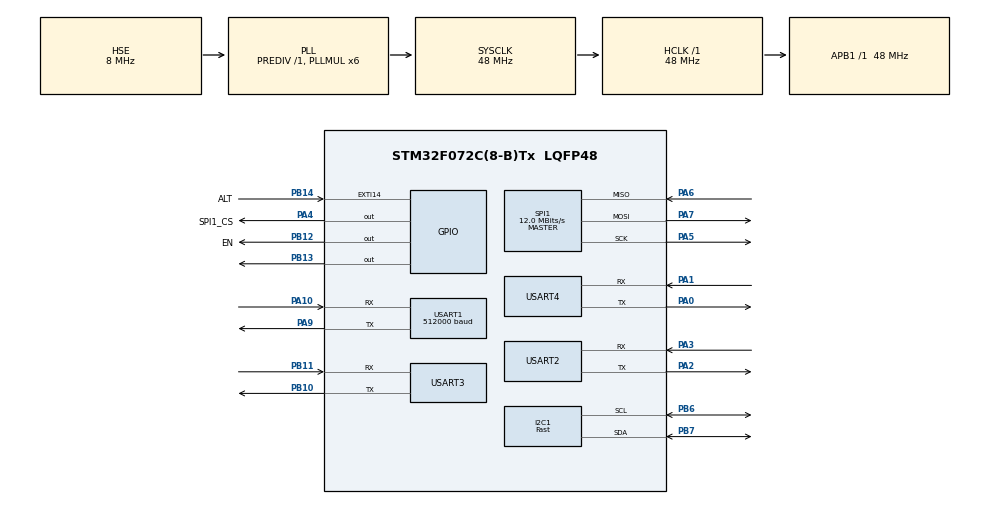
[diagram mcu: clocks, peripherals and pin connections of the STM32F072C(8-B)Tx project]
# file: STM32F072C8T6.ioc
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Dma.Request0=USART4_TX
Dma.USART4_TX.0.Direction=DMA_MEMORY_TO_PERIPH
Dma.USART4_TX.0.Instance=DMA1_Channel7
Dma.USART4_TX.0.MemDataAlignment=DMA_MDATAALIGN_BYTE
Dma.USART4_TX.0.MemInc=DMA_MINC_ENABLE
Dma.USART4_TX.0.Mode=DMA_NORMAL
Dma.USART4_TX.0.PeriphDataAlignment=DMA_PDATAALIGN_BYTE
Dma.USART4_TX.0.PeriphInc=DMA_PINC_DISABLE
Dma.USART4_TX.0.Priority=DMA_PRIORITY_LOW
FREERTOS.Tasks01=defaultTask,24,128,StartDefaultTask,Default,NULL,Dynamic,NULL,NULL;MP4201_R_task,8,128,MP4201_R,Default,NULL,Dynamic,NULL,NULL;MP4201_W_task,8,128,MP4201_W,Default,NULL,Dynamic,NULL,NULL;Screen_task,8,128,Screen,Default,NULL,Dynamic,NULL,NULL
I2C1.I2C_Fall_Time=80
I2C1.I2C_Rise_Time=80
I2C1.I2C_Speed_Mode=I2C_Fast
I2C1.Timing=0x0010020A
Mcu.Family=STM32F0
Mcu.Name=STM32F072C(8-B)Tx
Mcu.Package=LQFP48
NVIC.EXTI4_15_IRQn=true\:3\:0\:true\:false\:true\:true\:true\:true\:true
NVIC.TIM1_BRK_UP_TRG_COM_IRQn=true\:3\:0\:false\:false\:true\:false\:false\:true\:true
NVIC.TimeBase=TIM1_BRK_UP_TRG_COM_IRQn
NVIC.TimeBaseIP=TIM1
NVIC.USART1_IRQn=true\:3\:0\:false\:false\:true\:true\:true\:true\:true
NVIC.USART2_IRQn=true\:3\:0\:false\:false\:true\:true\:true\:true\:true
PA0.Mode=Asynchronous
PA0.Signal=USART4_TX
PA1.Mode=Asynchronous
PA1.Signal=USART4_RX
PA10.Mode=Asynchronous
PA10.Signal=USART1_RX
PA13.Mode=Serial_Wire
PA13.Signal=SYS_SWDIO
PA14.Mode=Serial_Wire
PA14.Signal=SYS_SWCLK
PA2.Mode=Asynchronous
PA2.Signal=USART2_TX
PA3.Mode=Asynchronous
PA3.Signal=USART2_RX
PA4.GPIO_Label=SPI1_CS
PA4.Signal=GPIO_Output
PA5.Mode=Full_Duplex_Master
PA5.Signal=SPI1_SCK
PA6.Mode=Full_Duplex_Master
PA6.Signal=SPI1_MISO
PA7.Mode=Full_Duplex_Master
PA7.Signal=SPI1_MOSI
PA9.Mode=Asynchronous
PA9.Signal=USART1_TX
PB10.Mode=Asynchronous
PB10.Signal=USART3_TX
PB11.Mode=Asynchronous
PB11.Signal=USART3_RX
PB12.GPIO_Label=EN
PB12.GPIO_ModeDefaultOutputPP=GPIO_MODE_OUTPUT_OD
PB12.GPIO_PuPd=GPIO_NOPULL
PB12.PinState=GPIO_PIN_SET
PB12.Signal=GPIO_Output
PB13.Signal=GPIO_Output
PB14.GPIO_Label=ALT
PB14.GPIO_ModeDefaultEXTI=GPIO_MODE_IT_RISING_FALLING
PB14.GPIO_PuPd=GPIO_PULLUP
PB14.Signal=GPXTI14
PB6.Mode=I2C
PB6.Signal=I2C1_SCL
PB7.Mode=I2C
PB7.Signal=I2C1_SDA
PF0-OSC_IN.Mode=HSE-External-Oscillator
PF0-OSC_IN.Signal=RCC_OSC_IN
PF1-OSC_OUT.Mode=HSE-External-Oscillator
PF1-OSC_OUT.Signal=RCC_OSC_OUT
ProjectManager.HeapSize=0x200
ProjectManager.StackSize=0x400
ProjectManager.TargetToolchain=MDK-ARM V5.27
RCC.AHBFreq_Value=48000000
RCC.APB1Freq_Value=48000000
RCC.APB1TimFreq_Value=48000000
RCC.HCLKFreq_Value=48000000
RCC.PLLMUL=RCC_PLL_MUL6
RCC.PLLSourceVirtual=RCC_PLLSOURCE_HSE
RCC.SYSCLKFreq_VALUE=48000000
RCC.SYSCLKSource=RCC_SYSCLKSOURCE_PLLCLK
SPI1.BaudRatePrescaler=SPI_BAUDRATEPRESCALER_4
SPI1.CalculateBaudRate=12.0 MBits/s
SPI1.DataSize=SPI_DATASIZE_8BIT
SPI1.Direction=SPI_DIRECTION_2LINES
SPI1.Mode=SPI_MODE_MASTER
SPI1.VirtualType=VM_MASTER
USART1.BaudRate=512000
USART1.VirtualMode-Asynchronous=VM_ASYNC
USART2.VirtualMode-Asynchronous=VM_ASYNC
USART3.VirtualMode-Asynchronous=VM_ASYNC
USART4.VirtualMode-Asynchronous=VM_ASYNC
VP_FREERTOS_VS_CMSIS_V2.Mode=CMSIS_V2
VP_SYS_VS_tim1.Mode=TIM1
board=custom

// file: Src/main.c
/* USER CODE BEGIN Header */
/**
  ******************************************************************************
  * @file           : main.c
  * @brief          : Main program body
  ******************************************************************************
  * @attention
  *
  * Copyright (c) 2025 STMicroelectronics.
  * All rights reserved.
  *
  * This software is licensed under terms that can be found in the LICENSE file
  * in the root directory of this software component.
  * If no LICENSE file comes with this software, it is provided AS-IS.
  *
  ******************************************************************************
  */
/* USER CODE END Header */
#include "main.h"
#include "cmsis_os.h"
#include "dma.h"
#include "i2c.h"
#include "spi.h"
#include "usart.h"
#include "gpio.h"

/* USER CODE BEGIN Includes */
#include <stdio.h>
#include "w25qxx.h"
#include "MP4201.h"
#include "mcp4725.h"
#include "Kalman_Filter.h"
/* USER CODE END Includes */

/* USER CODE BEGIN PTD */
extern hMP4201_t MP4201;
/* USER CODE END PTD */

/* USER CODE BEGIN PV */
bool fault_flag = 0;
uint8_t writebuffer[8] = {1,2,3,4,5,6,7,8};
uint8_t readbuffer[8] = {0};
float vout_target=12.0f;
int text_tag=0;
uint16_t count=0;
float total[8]={0};
//float Vin_total;1
//float Iin_total;2
//float Pin_total;3
//float Vout_total;4
//float Iout_total;5
//float Pout_total;6
//float temperature_total;7
//float Eff_total;8
/* USER CODE END PV */

void SystemClock_Config(void);
void MX_FREERTOS_Init(void);

int main(void)
{

  /* MCU Configuration--------------------------------------------------------*/

  /* Reset of all peripherals, Initializes the Flash interface and the Systick. */
  HAL_Init();

  /* Configure the system clock */
  SystemClock_Config();

  /* Initialize all configured peripherals */
  MX_GPIO_Init();
  MX_DMA_Init();
  MX_SPI1_Init();
  MX_USART1_UART_Init();
  MX_I2C1_Init();
  MX_USART2_UART_Init();
  MX_USART3_UART_Init();
  MX_USART4_UART_Init();
  /* USER CODE BEGIN 2 */
	W25QXX_Init();
  MCP4725_All_Init();
	MP4201_SET_MODE(PFM_WO_FSS);
	MP4201_SET_FREQ(FREQ_200KHz);

	MP4201_Init(&MP4201);

	mp4201_vout_set(&MP4201, vout_target);
	HAL_UART_Receive_IT(&huart1,&recv_data, 1);

	Kalman3D_Current_Init(&kf_current_in,0.0f, 0.0f, 0.0f, 0.01f);
	Kalman3D_Current_Init(&kf_current_out,0.0f, 0.0f, 0.0f, 0.01f);
//	mp4201_operation_set(&MP4201,false);
  /* USER CODE END 2 */

  /* Init scheduler */
  osKernelInitialize();  /* Call init function for freertos objects (in cmsis_os2.c) */
  MX_FREERTOS_Init();

  /* Start scheduler */
  osKernelStart();

  /* We should never get here as control is now taken by the scheduler */

  /* Infinite loop */
  while (1)
  {

  }
}

void SystemClock_Config(void)
{
  RCC_OscInitTypeDef RCC_OscInitStruct = {0};
  RCC_ClkInitTypeDef RCC_ClkInitStruct = {0};
  RCC_PeriphCLKInitTypeDef PeriphClkInit = {0};

  /** Initializes the RCC Oscillators according to the specified parameters
  * in the RCC_OscInitTypeDef structure.
  */
  RCC_OscInitStruct.OscillatorType = RCC_OSCILLATORTYPE_HSI|RCC_OSCILLATORTYPE_HSE;
  RCC_OscInitStruct.HSEState = RCC_HSE_ON;
  RCC_OscInitStruct.HSIState = RCC_HSI_ON;
  RCC_OscInitStruct.HSICalibrationValue = RCC_HSICALIBRATION_DEFAULT;
  RCC_OscInitStruct.PLL.PLLState = RCC_PLL_ON;
  RCC_OscInitStruct.PLL.PLLSource = RCC_PLLSOURCE_HSE;
  RCC_OscInitStruct.PLL.PLLMUL = RCC_PLL_MUL6;
  RCC_OscInitStruct.PLL.PREDIV = RCC_PREDIV_DIV1;
  if (HAL_RCC_OscConfig(&RCC_OscInitStruct) != HAL_OK)
  {
    Error_Handler();
  }

  /** Initializes the CPU, AHB and APB buses clocks
  */
  RCC_ClkInitStruct.ClockType = RCC_CLOCKTYPE_HCLK|RCC_CLOCKTYPE_SYSCLK
                              |RCC_CLOCKTYPE_PCLK1;
  RCC_ClkInitStruct.SYSCLKSource = RCC_SYSCLKSOURCE_PLLCLK;
  RCC_ClkInitStruct.AHBCLKDivider = RCC_SYSCLK_DIV1;
  RCC_ClkInitStruct.APB1CLKDivider = RCC_HCLK_DIV1;

  if (HAL_RCC_ClockConfig(&RCC_ClkInitStruct, FLASH_LATENCY_1) != HAL_OK)
  {
    Error_Handler();
  }
  PeriphClkInit.PeriphClockSelection = RCC_PERIPHCLK_USART1|RCC_PERIPHCLK_USART2
                              |RCC_PERIPHCLK_I2C1;
  PeriphClkInit.Usart1ClockSelection = RCC_USART1CLKSOURCE_PCLK1;
  PeriphClkInit.Usart2ClockSelection = RCC_USART2CLKSOURCE_PCLK1;
  PeriphClkInit.I2c1ClockSelection = RCC_I2C1CLKSOURCE_HSI;
  if (HAL_RCCEx_PeriphCLKConfig(&PeriphClkInit) != HAL_OK)
  {
    Error_Handler();
  }
}

void HAL_TIM_PeriodElapsedCallback(TIM_HandleTypeDef *htim)
{
  if (htim->Instance == TIM1)
  {
    HAL_IncTick();
  }
}

void Error_Handler(void)
{
  __disable_irq();
  while (1)
  {
  }
}

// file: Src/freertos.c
/* USER CODE BEGIN Header */
/**
  ******************************************************************************
  * File Name          : freertos.c
  * Description        : Code for freertos applications
  ******************************************************************************
  * @attention
  *
  * Copyright (c) 2025 STMicroelectronics.
  * All rights reserved.
  *
  * This software is licensed under terms that can be found in the LICENSE file
  * in the root directory of this software component.
  * If no LICENSE file comes with this software, it is provided AS-IS.
  *
  ******************************************************************************
  */
/* USER CODE END Header */

#include "FreeRTOS.h"
#include "task.h"
#include "main.h"
#include "cmsis_os.h"

/* USER CODE BEGIN Includes */
#include "w25qxx.h"
#include "MP4201.h"
#include "mcp4725.h"
#include "screen.h"
#include "Kalman_Filter.h"
/* USER CODE END Includes */

/* USER CODE BEGIN PTD */
extern float vout_target;
extern int text_tag;
float R_Iin;
float R_Iout;
float R_Vin;
float R_Vout;
/* USER CODE END PTD */

/* Definitions for defaultTask */
osThreadId_t defaultTaskHandle;
const osThreadAttr_t defaultTask_attributes = {
  .name = "defaultTask",
  .stack_size = 128 * 4,
  .priority = (osPriority_t) osPriorityNormal,
};
/* Definitions for MP4201_R_task */
osThreadId_t MP4201_R_taskHandle;
const osThreadAttr_t MP4201_R_task_attributes = {
  .name = "MP4201_R_task",
  .stack_size = 128 * 4,
  .priority = (osPriority_t) osPriorityLow,
};
/* Definitions for MP4201_W_task */
osThreadId_t MP4201_W_taskHandle;
const osThreadAttr_t MP4201_W_task_attributes = {
  .name = "MP4201_W_task",
  .stack_size = 128 * 4,
  .priority = (osPriority_t) osPriorityLow,
};
/* Definitions for Screen_task */
osThreadId_t Screen_taskHandle;
const osThreadAttr_t Screen_task_attributes = {
  .name = "Screen_task",
  .stack_size = 128 * 4,
  .priority = (osPriority_t) osPriorityLow,
};

void StartDefaultTask(void *argument);
void MP4201_R(void *argument);
void MP4201_W(void *argument);
void Screen(void *argument);

void MX_FREERTOS_Init(void); /* (MISRA C 2004 rule 8.1) */

void MX_FREERTOS_Init(void) {

  /* Create the thread(s) */
  /* creation of defaultTask */
  defaultTaskHandle = osThreadNew(StartDefaultTask, NULL, &defaultTask_attributes);

  /* creation of MP4201_R_task */
  MP4201_R_taskHandle = osThreadNew(MP4201_R, NULL, &MP4201_R_task_attributes);

  /* creation of MP4201_W_task */
  MP4201_W_taskHandle = osThreadNew(MP4201_W, NULL, &MP4201_W_task_attributes);

  /* creation of Screen_task */
  Screen_taskHandle = osThreadNew(Screen, NULL, &Screen_task_attributes);

}

void StartDefaultTask(void *argument)
{
  for(;;)
  {
    osDelay(1);
  }
}

void MP4201_R(void *argument)
{
  /* USER CODE BEGIN MP4201_R */
  /* Infinite loop */
  for(;;)
  {
		get_mp4201_all_info(&MP4201);
		R_Iin=Kalman3D_Current_Update(&kf_current_in,MP4201.read_info.Iin_read);
		R_Iout=Kalman3D_Current_Update(&kf_current_out,MP4201.read_info.Iout_read);
		MP4201.read_info.P_in           = MP4201.read_info.Vin_read*R_Iin;
		MP4201.read_info.P_out          = MP4201.read_info.Vout_read*R_Iout;
		if(MP4201.read_info.P_in > 0)
		{
			MP4201.read_info.Eff          = MP4201.read_info.P_out/MP4201.read_info.P_in * 100.00f;
		}
    osDelay(10);
  }
  /* USER CODE END MP4201_R */
}

void MP4201_W(void *argument)
{
  /* USER CODE BEGIN MP4201_W */
  /* Infinite loop */
  for(;;)
  {
		if(MP4201.status_info.SCP_fault)
		{
			mp4201_operation_set(&MP4201,0);
			mp4201_clear_faults(&MP4201);
			yprintf("SCP_fault=1\xff\xff\xff");
			yprintf("bt2.txt=\"OFF\"\xff\xff\xff");
			yprintf("bt2.val=0\xff\xff\xff");
		}
    osDelay(100);
  }
  /* USER CODE END MP4201_W */
}

void Screen(void *argument)
{
  /* USER CODE BEGIN Screen */
  /* Infinite loop */
  for(;;)
  {
		screen_update();
    osDelay(10);
  }
  /* USER CODE END Screen */
}
